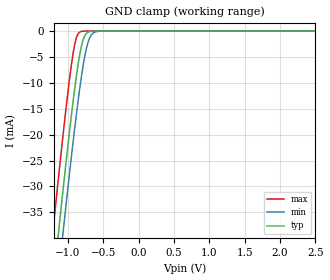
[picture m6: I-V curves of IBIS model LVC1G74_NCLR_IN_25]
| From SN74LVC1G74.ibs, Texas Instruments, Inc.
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[Model]   LVC1G74_NCLR_IN_25
Model_type  Input
Vinl=0.7
Vinh=1.7
| variable   typ   min   max
C_comp   3.43pF   2.80pF   4.38pF
[Temperature Range]   40   100   -40
| Ambient temperature   25   85   -40
[Voltage range]   2.5   2.3   2.7
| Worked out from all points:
|   GND clamp passes 1 mA (typ) near -0.77 V on its own axis
[GND Clamp]
| LVC1G74_NCLR_IN_25
|   Voltage   I(typ)   I(min)   I(max)
-5.5V     -655.2mA   -662.2mA   -646.6mA
-1.215V   -49.6mA    -57.88mA   -38.96mA
-1.14V    -39.72mA   -48.01mA   -29.07mA
-1.12V    -37.12mA   -45.41mA   -26.48mA
-1.08V    -31.98mA   -40.25mA   -21.38mA
-1.06V    -29.44mA   -37.69mA   -18.89mA
-960mV    -17.26mA   -25.26mA   -7.377mA
-890mV    -9.597mA   -17.1mA    -1.734mA
-785mV    -1.671mA   -6.635mA   -21.67uA
-720mV    -242.5uA   -2.354mA   -1.023uA
-650mV    -22.01uA   -443.9uA   -37.93nA
2.5V      4.713pA    7.577pA    4.389pA
